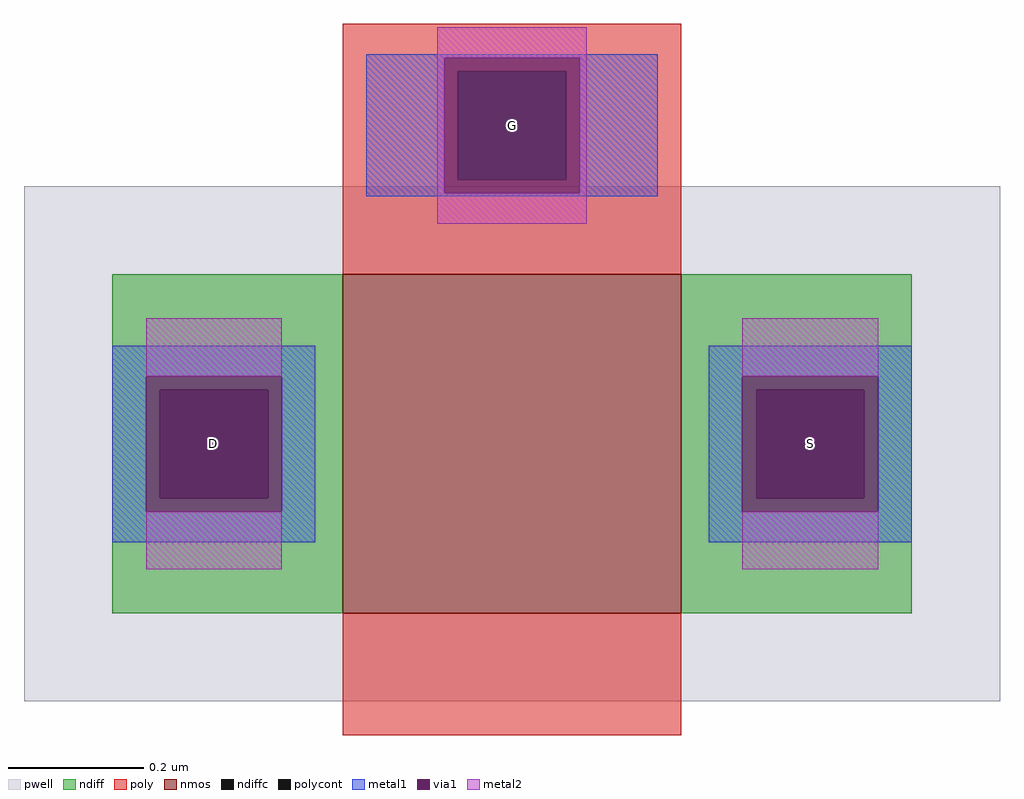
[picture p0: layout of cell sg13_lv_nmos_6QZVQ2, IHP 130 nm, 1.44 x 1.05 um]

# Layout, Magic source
magic
tech ihp-sg13g2
magscale 1 2
<< pwell >>
rect -144 -95 144 57
<< nmos >>
rect -50 -69 50 31
<< ndiff >>
rect -118 -3 -50 31
rect -118 -35 -104 -3
rect -72 -35 -50 -3
rect -118 -69 -50 -35
rect 50 -3 118 31
rect 50 -35 72 -3
rect 104 -35 118 -3
rect 50 -69 118 -35
<< ndiffc >>
rect -104 -35 -72 -3
rect 72 -35 104 -3
<< poly >>
rect -50 91 50 105
rect -50 59 -16 91
rect 16 59 50 91
rect -50 31 50 59
rect -50 -105 50 -69
<< polycont >>
rect -16 59 16 91
<< metal1 >>
rect -43 95 43 96
rect -43 55 -20 95
rect 20 55 43 95
rect -43 54 43 55
rect -118 1 -58 10
rect -118 -39 -108 1
rect -68 -39 -58 1
rect -118 -48 -58 -39
rect 58 1 118 10
rect 58 -39 68 1
rect 108 -39 118 1
rect 58 -48 118 -39
<< via1 >>
rect -20 91 20 95
rect -20 59 -16 91
rect -16 59 16 91
rect 16 59 20 91
rect -20 55 20 59
rect -108 -3 -68 1
rect -108 -35 -104 -3
rect -104 -35 -72 -3
rect -72 -35 -68 -3
rect -108 -39 -68 -35
rect 68 -3 108 1
rect 68 -35 72 -3
rect 72 -35 104 -3
rect 104 -35 108 -3
rect 68 -39 108 -35
<< metal2 >>
rect -22 95 22 104
rect -22 55 -20 95
rect 20 55 22 95
rect -22 46 22 55
rect -108 1 -68 18
rect -108 -56 -68 -39
rect 68 1 108 18
rect 68 -56 108 -39
<< labels >>
rlabel metal1 s -88 -19 -88 -19 4 D
rlabel metal1 s 88 -19 88 -19 4 S
rlabel metal1 s 0 75 0 75 4 G
<< end >>
